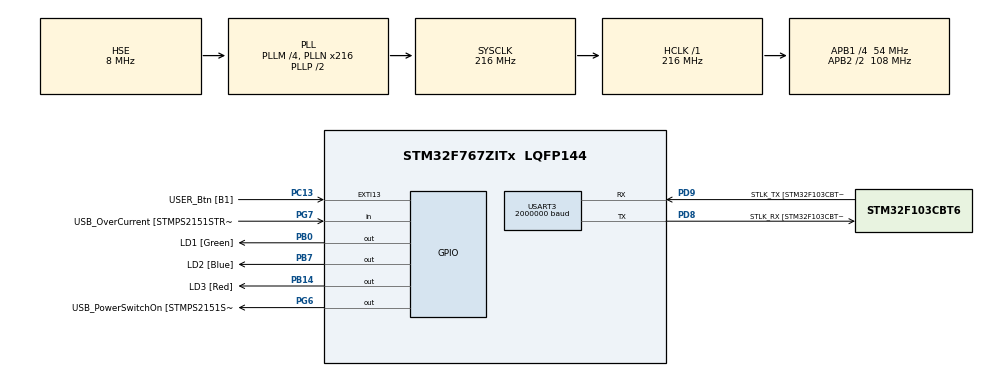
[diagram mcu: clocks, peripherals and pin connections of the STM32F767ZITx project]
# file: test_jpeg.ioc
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CORTEX_M7.ART_ACCLERATOR_ENABLE=1
CORTEX_M7.CPU_DCache=Enabled
CORTEX_M7.CPU_ICache=Enabled
CORTEX_M7.FlashInterface=TCM_Enabled
CORTEX_M7.PREFETCH_ENABLE=1
Dma.JPEG_IN.0.Direction=DMA_MEMORY_TO_PERIPH
Dma.JPEG_IN.0.FIFOMode=DMA_FIFOMODE_ENABLE
Dma.JPEG_IN.0.FIFOThreshold=DMA_FIFO_THRESHOLD_FULL
Dma.JPEG_IN.0.Instance=DMA2_Stream0
Dma.JPEG_IN.0.MemBurst=DMA_MBURST_INC4
Dma.JPEG_IN.0.MemDataAlignment=DMA_MDATAALIGN_WORD
Dma.JPEG_IN.0.MemInc=DMA_MINC_ENABLE
Dma.JPEG_IN.0.Mode=DMA_NORMAL
Dma.JPEG_IN.0.PeriphBurst=DMA_PBURST_INC4
Dma.JPEG_IN.0.PeriphDataAlignment=DMA_PDATAALIGN_WORD
Dma.JPEG_IN.0.PeriphInc=DMA_PINC_DISABLE
Dma.JPEG_IN.0.Priority=DMA_PRIORITY_MEDIUM
Dma.JPEG_OUT.1.Direction=DMA_PERIPH_TO_MEMORY
Dma.JPEG_OUT.1.FIFOMode=DMA_FIFOMODE_ENABLE
Dma.JPEG_OUT.1.FIFOThreshold=DMA_FIFO_THRESHOLD_FULL
Dma.JPEG_OUT.1.Instance=DMA2_Stream1
Dma.JPEG_OUT.1.MemBurst=DMA_MBURST_INC4
Dma.JPEG_OUT.1.MemDataAlignment=DMA_MDATAALIGN_WORD
Dma.JPEG_OUT.1.MemInc=DMA_MINC_ENABLE
Dma.JPEG_OUT.1.Mode=DMA_NORMAL
Dma.JPEG_OUT.1.PeriphBurst=DMA_PBURST_INC4
Dma.JPEG_OUT.1.PeriphDataAlignment=DMA_PDATAALIGN_WORD
Dma.JPEG_OUT.1.PeriphInc=DMA_PINC_DISABLE
Dma.JPEG_OUT.1.Priority=DMA_PRIORITY_MEDIUM
Dma.Request0=JPEG_IN
Dma.Request1=JPEG_OUT
Dma.Request2=USART3_TX
Dma.USART3_TX.2.Direction=DMA_MEMORY_TO_PERIPH
Dma.USART3_TX.2.FIFOMode=DMA_FIFOMODE_DISABLE
Dma.USART3_TX.2.Instance=DMA1_Stream3
Dma.USART3_TX.2.MemDataAlignment=DMA_MDATAALIGN_BYTE
Dma.USART3_TX.2.MemInc=DMA_MINC_ENABLE
Dma.USART3_TX.2.Mode=DMA_NORMAL
Dma.USART3_TX.2.PeriphDataAlignment=DMA_PDATAALIGN_BYTE
Dma.USART3_TX.2.PeriphInc=DMA_PINC_DISABLE
Dma.USART3_TX.2.Priority=DMA_PRIORITY_LOW
JPEG.JPEG_RGB_FORMAT=JPEG_RGB888
JPEG.USE_JPEG_DECODER=0
Mcu.Family=STM32F7
Mcu.Name=STM32F767ZITx
Mcu.Package=LQFP144
NVIC.DMA1_Stream3_IRQn=true\:5\:0\:true\:false\:true\:false\:true
NVIC.DMA2_Stream0_IRQn=true\:7\:0\:true\:false\:true\:false\:true
NVIC.DMA2_Stream1_IRQn=true\:7\:0\:true\:false\:true\:false\:true
NVIC.JPEG_IRQn=true\:6\:0\:true\:false\:true\:true\:true
NVIC.PriorityGroup=NVIC_PRIORITYGROUP_4
NVIC.USART3_IRQn=true\:4\:0\:true\:false\:true\:true\:true
PA1.GPIO_Label=RMII_REF_CLK [LAN8742A-CZ-TR_REFCLK0]
PA1.Signal=ETH_REF_CLK
PA10.GPIO_Label=USB_ID
PA10.Signal=USB_OTG_FS_ID
PA11.GPIO_Label=USB_DM
PA11.Signal=USB_OTG_FS_DM
PA12.GPIO_Label=USB_DP
PA12.Signal=USB_OTG_FS_DP
PA13.GPIO_Label=TMS
PA13.Mode=Serial_Wire
PA13.Signal=SYS_JTMS-SWDIO
PA14.GPIO_Label=TCK
PA14.Mode=Serial_Wire
PA14.Signal=SYS_JTCK-SWCLK
PA2.GPIO_Label=RMII_MDIO [LAN8742A-CZ-TR_MDIO]
PA2.Signal=ETH_MDIO
PA7.GPIO_Label=RMII_CRS_DV [LAN8742A-CZ-TR_CRS_DV]
PA7.Signal=ETH_CRS_DV
PA8.GPIO_Label=USB_SOF [TP1]
PA8.Signal=USB_OTG_FS_SOF
PA9.GPIO_Label=USB_VBUS
PA9.Signal=USB_OTG_FS_VBUS
PB0.GPIO_Label=LD1 [Green]
PB0.Signal=GPIO_Output
PB13.GPIO_Label=RMII_TXD1 [LAN8742A-CZ-TR_TXD1]
PB13.Signal=ETH_TXD1
PB14.GPIO_Label=LD3 [Red]
PB14.Signal=GPIO_Output
PB3.GPIO_Label=SWO
PB3.Signal=SYS_JTDO-SWO
PB7.GPIO_Label=LD2 [Blue]
PB7.Signal=GPIO_Output
PC1.GPIO_Label=RMII_MDC [LAN8742A-CZ-TR_MDC]
PC1.Signal=ETH_MDC
PC13.GPIO_Label=USER_Btn [B1]
PC13.Signal=GPXTI13
PC14/OSC32_IN.Mode=LSE-External-Oscillator
PC14/OSC32_IN.Signal=RCC_OSC32_IN
PC15/OSC32_OUT.Mode=LSE-External-Oscillator
PC15/OSC32_OUT.Signal=RCC_OSC32_OUT
PC4.GPIO_Label=RMII_RXD0 [LAN8742A-CZ-TR_RXD0]
PC4.Signal=ETH_RXD0
PC5.GPIO_Label=RMII_RXD1 [LAN8742A-CZ-TR_RXD1]
PC5.Signal=ETH_RXD1
PD8.GPIO_Label=STLK_RX [STM32F103CBT6_PA3]
PD8.Mode=Asynchronous
PD8.Signal=USART3_TX
PD9.GPIO_Label=STLK_TX [STM32F103CBT6_PA2]
PD9.Mode=Asynchronous
PD9.Signal=USART3_RX
PG11.GPIO_Label=RMII_TX_EN [LAN8742A-CZ-TR_TXEN]
PG11.Signal=ETH_TX_EN
PG13.GPIO_Label=RMII_TXD0 [LAN8742A-CZ-TR_TXD0]
PG13.Signal=ETH_TXD0
PG6.GPIO_Label=USB_PowerSwitchOn [STMPS2151STR_EN]
PG6.Signal=GPIO_Output
PG7.GPIO_Label=USB_OverCurrent [STMPS2151STR_FAULT]
PG7.Signal=GPIO_Input
PH0/OSC_IN.GPIO_Label=MCO [STM32F103CBT6_PA8]
PH0/OSC_IN.Mode=HSE-External-Clock-Source
PH0/OSC_IN.Signal=RCC_OSC_IN
PH1/OSC_OUT.Mode=HSE-External-Clock-Source
PH1/OSC_OUT.Signal=RCC_OSC_OUT
ProjectManager.HeapSize=0x200
ProjectManager.StackSize=0x400
ProjectManager.TargetToolchain=STM32CubeIDE
RCC.48MHZClocksFreq_Value=24000000
RCC.AHBFreq_Value=216000000
RCC.APB1CLKDivider=RCC_HCLK_DIV4
RCC.APB1Freq_Value=54000000
RCC.APB1TimFreq_Value=108000000
RCC.APB2CLKDivider=RCC_HCLK_DIV2
RCC.APB2Freq_Value=108000000
RCC.APB2TimFreq_Value=216000000
RCC.CortexFreq_Value=216000000
RCC.HCLKFreq_Value=216000000
RCC.HSE_VALUE=8000000
RCC.HSI_VALUE=16000000
RCC.PLLM=4
RCC.PLLMUL=RCC_PLL_MUL9
RCC.PLLN=216
RCC.PLLQ=4
RCC.PLLSourceVirtual=RCC_PLLSOURCE_HSE
RCC.PRESCALERUSB=RCC_USBCLKSOURCE_PLL_DIV1_5
RCC.SYSCLKFreq_VALUE=216000000
RCC.SYSCLKSource=RCC_SYSCLKSOURCE_PLLCLK
RCC.SYSCLKSourceVirtual=RCC_SYSCLKSOURCE_PLLCLK
RCC.USBFreq_Value=108000000
RCC.VCOOutputFreq_Value=432000000
USART3.BaudRate=2000000
USART3.VirtualMode-Asynchronous=VM_ASYNC
VP_JPEG_VS_JPEG.Mode=JPEG_Activate
board=NUCLEO-F767ZI

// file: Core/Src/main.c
/* USER CODE BEGIN Header */
/**
  ******************************************************************************
  * @file           : main.c
  * @brief          : Main program body
  ******************************************************************************
  * @attention
  *
  * <h2><center>&copy; Copyright (c) 2020 STMicroelectronics.
  * All rights reserved.</center></h2>
  *
  * This software component is licensed by ST under BSD 3-Clause license,
  * the "License"; You may not use this file except in compliance with the
  * License. You may obtain a copy of the License at:
  *                        opensource.org/licenses/BSD-3-Clause
  *
  ******************************************************************************
  */
/* USER CODE END Header */
#include "main.h"
#include "dma.h"
#include "jpeg.h"
#include "usart.h"
#include "gpio.h"

/* USER CODE BEGIN Includes */
#include "image_320_240_rgb.h"
/* USER CODE END Includes */

/* USER CODE BEGIN PV */
uint32_t RGB_ImageAddress;

uint8_t q = 0;
/* USER CODE END PV */

void SystemClock_Config(void);

int main(void)
{
  /* USER CODE BEGIN 1 */
  uint32_t JpegEncodeProcessing_End = 0;

#if (JPEG_RGB_FORMAT == JPEG_ARGB8888)
  RGB_ImageAddress = (uint32_t)Image_ARGB8888;

#elif(JPEG_RGB_FORMAT == JPEG_RGB888)
  RGB_ImageAddress = (uint32_t)Image_RGB888;

#elif(JPEG_RGB_FORMAT == JPEG_RGB565)
  RGB_ImageAddress = (uint32_t)Image_RGB565;

#endif /* JPEG_RGB_FORMAT */

  /* USER CODE END 1 */

  /* Enable I-Cache---------------------------------------------------------*/
  SCB_EnableICache();

  /* Enable D-Cache---------------------------------------------------------*/
  SCB_EnableDCache();

  /* MCU Configuration--------------------------------------------------------*/

  /* Reset of all peripherals, Initializes the Flash interface and the Systick. */
  HAL_Init();

  /* Configure the system clock */
  SystemClock_Config();

  /* USER CODE BEGIN SysInit */
  JPEG_InitColorTables();
  /* USER CODE END SysInit */

  /* Initialize all configured peripherals */
  MX_GPIO_Init();
  MX_DMA_Init();
  MX_USART3_UART_Init();
  MX_JPEG_Init();

  /* Infinite loop */
  /* USER CODE BEGIN WHILE */
  while (1)
  {
    /*##-4- JPEG Encoding with DMA (Not Blocking ) Method ################*/
    JPEG_Encode_DMA(&hjpeg, RGB_ImageAddress, RGB_IMAGE_SIZE, &huart3);

    /*##-5- Wait till end of JPEG encoding and perfom Input/Output Processing in BackGround  #*/
    do
    {
      JPEG_EncodeInputHandler(&hjpeg);
      JpegEncodeProcessing_End = JPEG_EncodeOutputHandler(&hjpeg);

    }while(JpegEncodeProcessing_End == 0);

    q++;
    q%=99;
    //HAL_Delay(10000);
    /* USER CODE END WHILE */

  }
}

void SystemClock_Config(void)
{
  RCC_OscInitTypeDef RCC_OscInitStruct = {0};
  RCC_ClkInitTypeDef RCC_ClkInitStruct = {0};
  RCC_PeriphCLKInitTypeDef PeriphClkInitStruct = {0};

  /** Configure LSE Drive Capability
  */
  HAL_PWR_EnableBkUpAccess();
  /** Configure the main internal regulator output voltage
  */
  __HAL_RCC_PWR_CLK_ENABLE();
  __HAL_PWR_VOLTAGESCALING_CONFIG(PWR_REGULATOR_VOLTAGE_SCALE1);
  /** Initializes the RCC Oscillators according to the specified parameters
  * in the RCC_OscInitTypeDef structure.
  */
  RCC_OscInitStruct.OscillatorType = RCC_OSCILLATORTYPE_HSE;
  RCC_OscInitStruct.HSEState = RCC_HSE_BYPASS;
  RCC_OscInitStruct.PLL.PLLState = RCC_PLL_ON;
  RCC_OscInitStruct.PLL.PLLSource = RCC_PLLSOURCE_HSE;
  RCC_OscInitStruct.PLL.PLLM = 4;
  RCC_OscInitStruct.PLL.PLLN = 216;
  RCC_OscInitStruct.PLL.PLLP = RCC_PLLP_DIV2;
  RCC_OscInitStruct.PLL.PLLQ = 4;
  if (HAL_RCC_OscConfig(&RCC_OscInitStruct) != HAL_OK)
  {
    Error_Handler();
  }
  /** Activate the Over-Drive mode
  */
  if (HAL_PWREx_EnableOverDrive() != HAL_OK)
  {
    Error_Handler();
  }
  /** Initializes the CPU, AHB and APB buses clocks
  */
  RCC_ClkInitStruct.ClockType = RCC_CLOCKTYPE_HCLK|RCC_CLOCKTYPE_SYSCLK
                              |RCC_CLOCKTYPE_PCLK1|RCC_CLOCKTYPE_PCLK2;
  RCC_ClkInitStruct.SYSCLKSource = RCC_SYSCLKSOURCE_PLLCLK;
  RCC_ClkInitStruct.AHBCLKDivider = RCC_SYSCLK_DIV1;
  RCC_ClkInitStruct.APB1CLKDivider = RCC_HCLK_DIV4;
  RCC_ClkInitStruct.APB2CLKDivider = RCC_HCLK_DIV2;

  if (HAL_RCC_ClockConfig(&RCC_ClkInitStruct, FLASH_LATENCY_7) != HAL_OK)
  {
    Error_Handler();
  }
  PeriphClkInitStruct.PeriphClockSelection = RCC_PERIPHCLK_USART3;
  PeriphClkInitStruct.Usart3ClockSelection = RCC_USART3CLKSOURCE_PCLK1;
  if (HAL_RCCEx_PeriphCLKConfig(&PeriphClkInitStruct) != HAL_OK)
  {
    Error_Handler();
  }
}

/* USER CODE BEGIN 4 */

/**
  * @brief  Get the images sizes from BMP header.
  * @param  pInfo : pointer to the Info structure
  * @retval None
  */
void RGB_GetInfo(JPEG_ConfTypeDef *pInfo)
{
  /* Read Images Sizes */
  pInfo->ImageWidth         = RGB_IMAGE_WIDTH;
  pInfo->ImageHeight        = RGB_IMAGE_HEIGHT;

  /* Jpeg Encoding Setting to be setted by users */
  pInfo->ChromaSubsampling  = JPEG_CHROMA_SAMPLING;
  pInfo->ColorSpace         = JPEG_COLOR_SPACE;
  //pInfo->ImageQuality       = JPEG_IMAGE_QUALITY;
  pInfo->ImageQuality       = q+1;

  /*Check if Image Sizes meets the requirements */
  if (((pInfo->ImageWidth % 8) != 0 ) || ((pInfo->ImageHeight % 8) != 0 ) || \
      (((pInfo->ImageWidth % 16) != 0 ) && (pInfo->ColorSpace == JPEG_YCBCR_COLORSPACE) && (pInfo->ChromaSubsampling != JPEG_444_SUBSAMPLING)) || \
      (((pInfo->ImageHeight % 16) != 0 ) && (pInfo->ColorSpace == JPEG_YCBCR_COLORSPACE) && (pInfo->ChromaSubsampling == JPEG_420_SUBSAMPLING)))
  {
    Error_Handler();
  }

}

/* USER CODE END 4 */

void Error_Handler(void)
{
}

/************************ (C) COPYRIGHT STMicroelectronics *****END OF FILE****/
